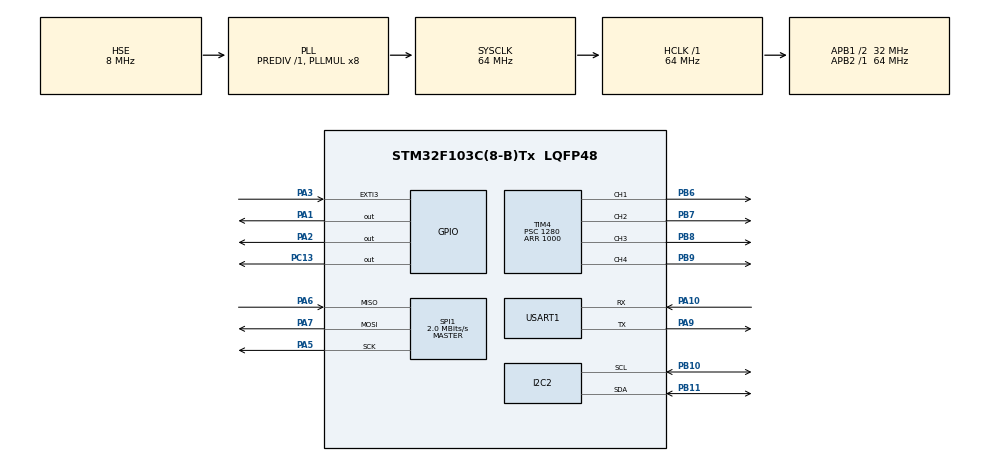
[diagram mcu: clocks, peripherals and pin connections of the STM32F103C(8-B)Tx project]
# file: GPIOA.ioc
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Mcu.Family=STM32F1
Mcu.Name=STM32F103C(8-B)Tx
Mcu.Package=LQFP48
NVIC.EXTI3_IRQn=true\:0\:0\:false\:false\:true\:true
NVIC.PriorityGroup=NVIC_PRIORITYGROUP_4
PA1.Signal=GPIO_Output
PA10.Mode=Asynchronous
PA10.Signal=USART1_RX
PA2.GPIO_ModeDefaultOutputPP=GPIO_MODE_OUTPUT_PP
PA2.Signal=GPIO_Output
PA3.GPIO_ModeDefaultEXTI=GPIO_MODE_IT_FALLING
PA3.Signal=GPXTI3
PA5.Mode=Full_Duplex_Master
PA5.Signal=SPI1_SCK
PA6.Mode=Full_Duplex_Master
PA6.Signal=SPI1_MISO
PA7.Mode=Full_Duplex_Master
PA7.Signal=SPI1_MOSI
PA9.Mode=Asynchronous
PA9.Signal=USART1_TX
PB10.Mode=I2C
PB10.Signal=I2C2_SCL
PB11.Mode=I2C
PB11.Signal=I2C2_SDA
PB6.Signal=S_TIM4_CH1
PB7.Signal=S_TIM4_CH2
PB8.Signal=S_TIM4_CH3
PB9.Signal=S_TIM4_CH4
PC13-TAMPER-RTC.Signal=GPIO_Output
PD0-OSC_IN.Mode=HSE-External-Oscillator
PD0-OSC_IN.Signal=RCC_OSC_IN
PD1-OSC_OUT.Mode=HSE-External-Oscillator
PD1-OSC_OUT.Signal=RCC_OSC_OUT
ProjectManager.HeapSize=0x200
ProjectManager.StackSize=0x400
ProjectManager.TargetToolchain=MDK-ARM V5
RCC.AHBFreq_Value=64000000
RCC.APB1CLKDivider=RCC_HCLK_DIV2
RCC.APB1Freq_Value=32000000
RCC.APB1TimFreq_Value=64000000
RCC.APB2Freq_Value=64000000
RCC.APB2TimFreq_Value=64000000
RCC.HCLKFreq_Value=64000000
RCC.PLLMUL=RCC_PLL_MUL8
RCC.PLLSourceVirtual=RCC_PLLSOURCE_HSE
RCC.SYSCLKFreq_VALUE=64000000
RCC.SYSCLKSource=RCC_SYSCLKSOURCE_PLLCLK
RCC.USBFreq_Value=42666666.666666664
RCC.USBPrescaler=RCC_USBCLKSOURCE_PLL_DIV1_5
SH.S_TIM4_CH1.0=TIM4_CH1,PWM Generation1 CH1
SH.S_TIM4_CH2.0=TIM4_CH2,PWM Generation2 CH2
SH.S_TIM4_CH3.0=TIM4_CH3,PWM Generation3 CH3
SH.S_TIM4_CH4.0=TIM4_CH4,PWM Generation4 CH4
SPI1.BaudRatePrescaler=SPI_BAUDRATEPRESCALER_32
SPI1.CalculateBaudRate=2.0 MBits/s
SPI1.Direction=SPI_DIRECTION_2LINES
SPI1.Mode=SPI_MODE_MASTER
SPI1.VirtualType=VM_MASTER
TIM4.Channel-PWM\ Generation1\ CH1=TIM_CHANNEL_1
TIM4.Channel-PWM\ Generation2\ CH2=TIM_CHANNEL_2
TIM4.Channel-PWM\ Generation3\ CH3=TIM_CHANNEL_3
TIM4.Channel-PWM\ Generation4\ CH4=TIM_CHANNEL_4
TIM4.Period=1000
TIM4.Prescaler=1280
USART1.VirtualMode=VM_ASYNC
VP_SYS_VS_ND.Mode=No_Debug
VP_TIM4_VS_ClockSourceINT.Mode=Internal
board=GPIOA

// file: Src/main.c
/**
  ******************************************************************************
  * @file           : main.c
  * @brief          : Main program body
  ******************************************************************************
  ** This notice applies to any and all portions of this file
  * that are not between comment pairs USER CODE BEGIN and
  * USER CODE END. Other portions of this file, whether
  * inserted by the user or by software development tools
  * are owned by their respective copyright owners.
  *
  * COPYRIGHT(c) 2020 STMicroelectronics
  *
  * Redistribution and use in source and binary forms, with or without modification,
  * are permitted provided that the following conditions are met:
  *   1. Redistributions of source code must retain the above copyright notice,
  *      this list of conditions and the following disclaimer.
  *   2. Redistributions in binary form must reproduce the above copyright notice,
  *      this list of conditions and the following disclaimer in the documentation
  *      and/or other materials provided with the distribution.
  *   3. Neither the name of STMicroelectronics nor the names of its contributors
  *      may be used to endorse or promote products derived from this software
  *      without specific prior written permission.
  *
  * THIS SOFTWARE IS PROVIDED BY THE COPYRIGHT HOLDERS AND CONTRIBUTORS "AS IS"
  * AND ANY EXPRESS OR IMPLIED WARRANTIES, INCLUDING, BUT NOT LIMITED TO, THE
  * IMPLIED WARRANTIES OF MERCHANTABILITY AND FITNESS FOR A PARTICULAR PURPOSE ARE
  * DISCLAIMED. IN NO EVENT SHALL THE COPYRIGHT HOLDER OR CONTRIBUTORS BE LIABLE
  * FOR ANY DIRECT, INDIRECT, INCIDENTAL, SPECIAL, EXEMPLARY, OR CONSEQUENTIAL
  * DAMAGES (INCLUDING, BUT NOT LIMITED TO, PROCUREMENT OF SUBSTITUTE GOODS OR
  * SERVICES; LOSS OF USE, DATA, OR PROFITS; OR BUSINESS INTERRUPTION) HOWEVER
  * CAUSED AND ON ANY THEORY OF LIABILITY, WHETHER IN CONTRACT, STRICT LIABILITY,
  * OR TORT (INCLUDING NEGLIGENCE OR OTHERWISE) ARISING IN ANY WAY OUT OF THE USE
  * OF THIS SOFTWARE, EVEN IF ADVISED OF THE POSSIBILITY OF SUCH DAMAGE.
  *
  ******************************************************************************
  */
#include "main.h"
#include "stm32f1xx_hal.h"
#include <stdlib.h>
#include "sd_hal_mpu6050.h"
#include <math.h>
/* USER CODE BEGIN Includes */
#include "MY_NRF24.h"
/* USER CODE END Includes */

I2C_HandleTypeDef hi2c2;

SPI_HandleTypeDef hspi1;

TIM_HandleTypeDef htim4;

UART_HandleTypeDef huart1;

/* USER CODE BEGIN PV */
/* Private variables ---------------------------------------------------------*/
extern uint8_t Rx_str[200];
extern uint8_t Rx_index;
int duty1=450,duty2=450,duty3=450,duty4=450,duty;
int min1=440,min2=440,min3=440,min4=440; // muc thap nhat cho dong co chay la 48 - 61 52 48    B6 B7 B8 B9
int max1=600,max2=600,max3=600,max4=600;
char Tx_str[200]="12;";
uint8_t Tx_index=3;
uint8_t TX_BUF[5] = {'a','b','c',';','d'};
extern uint8_t rx_flag;
char *Std;
int loop=0;
float resetnrf=0;
int stop=0;
// for mpu6050
SD_MPU6050 mpu1;
  float g_x=0,g_y=0,g_z=0,a_x=0,a_y=0,a_z=0;
float g_xx=0,g_yy=0, g_zz=0;
	float roll=0,pitch=0,yaw=0 ;
	float dt=0, old_time=0;//A=0.999,B=0.96,
float g_roll=0, g_pitch=0, g_yaw=0;
float tick=0;
// Variables for PID
float pid_p_roll=1.0; //0.7 0.65 0.001;
float pid_i_roll=1.7;
float pid_d_roll=1.1;

float pid_p_pitch=1.0;
float pid_i_pitch=1.7;
float pid_d_pitch=1.1;

float set_point_roll=0;
float set_point_pitch=0;

float aim_roll=0;
float aim_pitch=0;

float error_roll=0;
float error_pitch=0;

float last_error_roll=0;
float last_error_pitch=0;

float inter_roll=0;
float inter_pitch=0;

float output_roll=0;
float output_pitch=0;

float input_roll=0;
float input_pitch=0;

float last_roll=0;
float last_pitch=0;

int chanel_send=1;
int throut=450;
int start=0;
float er1=0,er2=0;
//float pp=10.0,rp=100.0,qp=0.1,kp=1.0,xp=0;
//float pr=10.0,rr=100.0,qr=0.1,kr=1.0,xr=0;
//47 60 47 47 tang 1 muc nua la chay
//b6 b7  b8   b9
//float data[10];
//int indexdata=0;
//d48 61 52 48; muc toi thieu de chay

//duty1= 60 duty2 = 73 duty3= 64 duty4 = 60
//duty1= 60 duty2 = 73 duty3= 64 duty4 = 60
//duty1= 61 duty2 = 74 duty3= 65 duty4 = 61
//duty1= 61 duty2 = 74 duty3= 65 duty4 = 61
//duty1= 61 duty2 = 74 duty3= 65 duty4 = 61
//duty1= 61 duty2 = 74 duty3= 65 duty4 = 61
//duty1= 62 duty2 = 75 duty3= 66 duty4 = 62
//duty1= 61 duty2 = 74 duty3= 65 duty4 = 61
//duty1= 60 duty2 = 73 duty3= 64 duty4 = 60

/* USER CODE END PV */

void SystemClock_Config(void);
static void MX_GPIO_Init(void);
static void MX_SPI1_Init(void);
static void MX_USART1_UART_Init(void);
static void MX_I2C2_Init(void);
static void MX_TIM4_Init(void);

void HAL_TIM_MspPostInit(TIM_HandleTypeDef *htim);

/* USER CODE BEGIN PFP */
/* Private function prototypes -----------------------------------------------*/

/* USER CODE END PFP */

/* USER CODE BEGIN 0 */

void NRF_Sendstring()
	{
		HAL_Delay(1);
		Tx_index=strlen(Tx_str);
			//	LED_TGL;
		for(int i=0;i<Tx_index;i+=5)
		{
			for(int j=0;j<5;j++)
			{
				if((i+j)<Tx_index)
				TX_BUF[j]=Tx_str[i+j];
				else
					TX_BUF[j]=' ';
			}
			NRF24L01_Send(TX_BUF);
		HAL_Delay(10);
		}
	}

void SetPmw()
{
	if(duty1<min1)
		duty1=min1;
	if(duty2<min2)
		duty2=min2;
	if(duty3<min3)
		duty3=min3;
	if(duty4<min4)
		duty4=min4;

	if(duty1>max1)
		duty1=max1;
	if(duty2>max2)
		duty2=max2;
	if(duty3>max3)
		duty3=max3;
	if(duty4>max4)
		duty4=max4;
}
void calculate_pid()
{

	//Pitch
	error_pitch=(input_pitch)-set_point_pitch;//round()
	if(fabs(error_pitch)>0.9)
		inter_pitch+=error_pitch*dt;
	er2=error_pitch*dt;
	if(inter_pitch>900)
		inter_pitch=900;
	if(inter_pitch<-900)
		inter_pitch=-900;
	if(dt!=0.0)
	{
		output_pitch=pid_p_pitch*error_pitch+pid_i_pitch*inter_pitch+pid_d_pitch*(error_pitch-last_error_pitch)/dt;//???????
		last_error_pitch=error_pitch;
	}

	// Roll
	error_roll=(input_roll)-set_point_roll;
	if(fabs(error_roll)>0.9)
		inter_roll+=error_roll*dt;
	er1=error_roll*dt;
	if(inter_roll>900)
		inter_roll=900;
	if(inter_roll<-900)
		inter_roll=-900;
	if(dt!=0.0)
	{
		output_roll=pid_p_roll*error_roll+pid_i_roll*inter_roll+pid_d_roll*(error_roll-last_error_roll)/dt;
		last_error_roll=error_roll;
	}

}
void SysTick_Handler(void)
{
  /* USER CODE BEGIN SysTick_IRQn 0 */
tick++;
	if(tick>=5)
	{
		if(stop==-1)
			{
				if(throut>450)
				{
					throut-=1;
				}
			}
			if(aim_pitch-set_point_pitch>0.2)
				set_point_pitch+=0.1;
			if(aim_pitch-set_point_pitch<-0.2)
				set_point_pitch-=0.1;
			if(aim_roll-set_point_roll>0.2)
				set_point_roll+=0.1;
			if(aim_roll-set_point_roll<-0.2)
				set_point_roll-=0.1;

			tick=0;
		}
  /* USER CODE END SysTick_IRQn 0 */
  HAL_IncTick();
  HAL_SYSTICK_IRQHandler();
  /* USER CODE BEGIN SysTick_IRQn 1 */

  /* USER CODE END SysTick_IRQn 1 */
}

/* USER CODE END 0 */

int main(void)
{
  /* USER CODE BEGIN 1 */
	SD_MPU6050_Result result ;
  /* USER CODE END 1 */

  /* MCU Configuration----------------------------------------------------------*/

  /* Reset of all peripherals, Initializes the Flash interface and the Systick. */
  HAL_Init();

  /* Configure the system clock */
  SystemClock_Config();

  /* Initialize all configured peripherals */
  MX_GPIO_Init();
  MX_SPI1_Init();
  MX_USART1_UART_Init();
  MX_I2C2_Init();
  MX_TIM4_Init();
  /* USER CODE BEGIN 2 */

	NRF24_ini();
	HAL_TIM_PWM_Start(&htim4,TIM_CHANNEL_1);
	HAL_TIM_PWM_Start(&htim4,TIM_CHANNEL_2);
	HAL_TIM_PWM_Start(&htim4,TIM_CHANNEL_3);
	HAL_TIM_PWM_Start(&htim4,TIM_CHANNEL_4);
	__HAL_TIM_SET_COMPARE(&htim4,TIM_CHANNEL_1,duty1);
	__HAL_TIM_SET_COMPARE(&htim4,TIM_CHANNEL_2,duty2);
	__HAL_TIM_SET_COMPARE(&htim4,TIM_CHANNEL_3,duty3);
	__HAL_TIM_SET_COMPARE(&htim4,TIM_CHANNEL_4,duty4);
	LED_OFF;

	LED_OFF;
	sprintf(Tx_str,"Set NRF ok;");
	NRF_Sendstring();
	result = SD_MPU6050_Init(&hi2c2,&mpu1,SD_MPU6050_Device_0,SD_MPU6050_Accelerometer_8G,SD_MPU6050_Gyroscope_500s );
	  HAL_Delay(500);

	  if(result == SD_MPU6050_Result_Ok)
	  {
			sprintf(Tx_str,"MPU WORK FINE;");
			NRF_Sendstring();
		}
	  else
	  {
			sprintf(Tx_str,"MPU DON'T WORK;");
			NRF_Sendstring();
	  }
		HAL_Delay(3000);
		sprintf(Tx_str,"START CALIBRATION;");
			NRF_Sendstring();
		for(int i=0;i<50;i++)
		{
			SD_MPU6050_ReadAll(&hi2c2,&mpu1);
			g_xx+= ((float)mpu1.Gyroscope_X)/131.0;
			g_yy+= ((float)mpu1.Gyroscope_Y)/131.0;
			g_zz+= ((float)mpu1.Gyroscope_Y)/131.0;
			HAL_Delay(100);
		}
		g_xx/=50.0;
		g_yy/=50.0;
		g_zz/=50.0;
		sprintf(Tx_str,"END CALIBRATION;");
		NRF_Sendstring();
		tick=0;
		old_time=HAL_GetTick();
  /* USER CODE END 2 */
  /* Infinite loop */
  /* USER CODE BEGIN WHILE */
  while (1) // duty 2 la kv 1000
  {

		loop++;
		resetnrf++;
		if(resetnrf>=900)
		{
			NRF24_ini();
			Rx_index=0;
			resetnrf=0;
			sprintf(Tx_str,"Reset NRF;");
			NRF_Sendstring();
			HAL_GPIO_TogglePin(GPIOC,GPIO_PIN_13);
			resetnrf=0;
		}
		if(loop>=200)
		{
			switch(chanel_send)
				{
				case 3:
			sprintf(Tx_str,"d1: %f: d2 :%f: d3: %f: d4 : %f3;",set_point_pitch, set_point_roll, aim_pitch, aim_roll);
				//sprintf(Tx_str,": %f: %f: %f: %f: %f: %f: %f: %f: %f: %f;",data[0],data[1],data[2],data[3],data[4],data[5],data[6],data[7],data[8],data[9]);
					break;
				case 2:
			sprintf(Tx_str,"P: %f: R: %f :Y: %f;",g_x*dt, g_y*dt, g_z*dt);
					break;
				case 4:
			//sprintf(Tx_str,"in: %.2f: %.2f: %f: %f;",input_pitch, input_roll,error_pitch,mpu1.Gyro_Mult); //*mpu1.Gyro_Mult
				sprintf(Tx_str,"in: %.4f: %.4f: %.4f;",g_x, g_y, g_z);
				break;
				case 1:
			//sprintf(Tx_str,"out: %.2f: %.2f: %f: %f;",output_pitch, output_roll,inter_pitch,inter_roll);
				sprintf(Tx_str,"g: %.3f: %.3f: %.3f;",g_pitch, g_roll, g_yaw);
				break;
				}
			NRF_Sendstring();
				loop=0;
		}

		if(rx_flag==1) //
		{
			HAL_Delay(1);
			switch(Rx_str[0])
			{
				case 's':
					Rx_str[0]=' ';
				Std=(char*)Rx_str;
				aim_pitch = strtod(Std,&Std);
				aim_roll = strtod(Std,&Std);
				sprintf(Tx_str,"Set = %f : %f ;",aim_pitch, aim_roll);
				NRF_Sendstring();
					break;
				case 'p':
					Rx_str[0]=' ';
				Std=(char*)Rx_str;
				pid_p_pitch = strtod(Std,&Std);
				pid_i_pitch = strtod(Std,&Std);
				pid_d_pitch = strtod(Std,&Std);
				sprintf(Tx_str,"PID= %f PID = %f PID= %f;",pid_p_pitch, pid_i_pitch, pid_d_pitch);
				NRF_Sendstring();
					break;
				case 'r':
					Rx_str[0]=' ';
				Std=(char*)Rx_str;
				pid_p_roll = strtod(Std,&Std);
				pid_i_roll = strtod(Std,&Std);
				pid_d_roll = strtod(Std,&Std);
				sprintf(Tx_str,"PID= %f PID = %f PID= %f;",pid_p_roll, pid_i_roll, pid_d_roll);
				NRF_Sendstring();
					break;
				case 'e':
					if(start==0)
					{
						sprintf(Tx_str,"Enable Calibration;");
						NRF_Sendstring();
						start=1;
						}
					else
						{
							sprintf(Tx_str,"Disable Calibration;");
						NRF_Sendstring();
						start=0;
							}
					break;
				case 'n':
					resetnrf=0;
					break;
				case 'v':
					set_point_pitch = (input_pitch);
				set_point_roll =(input_roll);
				aim_pitch=set_point_pitch;
				aim_roll=set_point_roll;
				inter_roll=0;
				inter_pitch=0;
				last_error_pitch=0;
				last_error_roll=0;
				g_pitch=0;
				g_roll=0;
				g_yaw=0;
				sprintf(Tx_str,"set_pitch= %f set_roll = %f ;",set_point_pitch, set_point_roll);
				NRF_Sendstring();
					break;
				case 'c':
					if(chanel_send==4)
					chanel_send=1;
				else
					chanel_send++;
					break;
				case 't':
					Rx_str[0]=' ';
				Std=(char*)Rx_str;
				throut = (int)strtod(Std,&Std);
				sprintf(Tx_str,"Apply new throut= %d;",throut);
				NRF_Sendstring();
					break;
				case 'h':
					throut++;
				sprintf(Tx_str,"Throut Up %d;",throut);
				NRF_Sendstring();
					break;
				case 'l':
					throut--;
				sprintf(Tx_str,"Throut Down %d;",throut);
				NRF_Sendstring();
					break;
				case 'u':
					throut+=5;
				sprintf(Tx_str,"Throut Up %d;",throut);
				NRF_Sendstring();
					break;
				case 'd':
					throut-=5;
				sprintf(Tx_str,"Throut Down %d;",throut);
				NRF_Sendstring();
					break;
				case 'z':
					if(stop!=-1)
				{
					stop=-1;
					sprintf(Tx_str,"STOP;");
				}
				else
				{
					stop=0;
					sprintf(Tx_str,"START;");
				}
				NRF_Sendstring();
					break;
			}

			for(int i=0;i<Rx_index;i++)
					Rx_str[i]=0;
				Rx_index=0;
			rx_flag=0;
		}

		SD_MPU6050_ReadAll(&hi2c2,&mpu1);
			a_x = ((float)mpu1.Accelerometer_X)*mpu1.Acce_Mult;
			a_y = ((float)mpu1.Accelerometer_Y)*mpu1.Acce_Mult;
			a_z = ((float)mpu1.Accelerometer_Z)*mpu1.Acce_Mult;
			g_x = ((float)mpu1.Gyroscope_X)/131.0;
			g_y = ((float)mpu1.Gyroscope_Y)/131.0;
			g_z = ((float)mpu1.Gyroscope_Z)/131.0;
//			last_roll=roll;
//			last_pitch=pitch;
//			roll=atan2(a_x,sqrt(a_y*a_y+a_z*a_z))*180/3.1412;
//			pitch=atan2(a_y,sqrt(a_x*a_x+a_z*a_z))*180/3.1412;

			dt=(HAL_GetTick()-old_time)/1000.0;
			old_time=HAL_GetTick();

			g_x=(g_x-g_xx);
			g_y=(g_y-g_yy);
			g_z=(g_z-g_zz);
			if(fabs(g_x)>1.0)
				g_roll+=g_x*dt;
			if(fabs(g_y)>1.0)
				g_pitch+=g_y*dt;
			if(fabs(g_z)>1.0)
			{
				g_yaw+=g_z*dt;
				g_pitch-=g_roll*(g_z*dt*3.14159/180.0);
				g_roll+=g_pitch*(g_z*dt*3.14159/180.0);
			}

//
//		pr = pr + qr;
//		kr = pr / (pr + rr);
//		input_roll = input_roll + kr * (roll - input_roll);
//		pr = (1 - kr) * pr;
//
//
//		pp = pp + qp;
//		kp = pp / (pp + rp);
//		input_pitch = input_pitch + kp * (pitch - input_pitch);
//		pp = (1 - kp) * pp;
//
//		data[indexdata]=input_pitch;
//		if(indexdata>8)
//			indexdata=0;
//		else
//			indexdata++;
//		input_roll=0.8*input_roll+0.2*roll;
//	input_pitch=0.8*input_pitch+0.2*pitch;
	input_roll=g_roll;
	input_pitch=g_pitch;
		if(start==1)
			{

		calculate_pid(); //calculate pid controler
		duty1=throut+(int)output_pitch;
		duty3=throut-(int)output_pitch;
		duty2=throut+(int)output_roll;
		duty4=throut-(int)output_roll;
		SetPmw();
				__HAL_TIM_SET_COMPARE(&htim4,TIM_CHANNEL_1,duty1);
				__HAL_TIM_SET_COMPARE(&htim4,TIM_CHANNEL_2,duty2);
				__HAL_TIM_SET_COMPARE(&htim4,TIM_CHANNEL_3,duty3);
				__HAL_TIM_SET_COMPARE(&htim4,TIM_CHANNEL_4,duty4);
				}

	//	LED_TGL;
  /* USER CODE END WHILE */

  }

}

void SystemClock_Config(void)
{

  RCC_OscInitTypeDef RCC_OscInitStruct;
  RCC_ClkInitTypeDef RCC_ClkInitStruct;

    /**Initializes the CPU, AHB and APB busses clocks
    */
  RCC_OscInitStruct.OscillatorType = RCC_OSCILLATORTYPE_HSE;
  RCC_OscInitStruct.HSEState = RCC_HSE_ON;
  RCC_OscInitStruct.HSEPredivValue = RCC_HSE_PREDIV_DIV1;
  RCC_OscInitStruct.HSIState = RCC_HSI_ON;
  RCC_OscInitStruct.PLL.PLLState = RCC_PLL_ON;
  RCC_OscInitStruct.PLL.PLLSource = RCC_PLLSOURCE_HSE;
  RCC_OscInitStruct.PLL.PLLMUL = RCC_PLL_MUL8;
  if (HAL_RCC_OscConfig(&RCC_OscInitStruct) != HAL_OK)
  {
    _Error_Handler(__FILE__, __LINE__);
  }

    /**Initializes the CPU, AHB and APB busses clocks
    */
  RCC_ClkInitStruct.ClockType = RCC_CLOCKTYPE_HCLK|RCC_CLOCKTYPE_SYSCLK
                              |RCC_CLOCKTYPE_PCLK1|RCC_CLOCKTYPE_PCLK2;
  RCC_ClkInitStruct.SYSCLKSource = RCC_SYSCLKSOURCE_PLLCLK;
  RCC_ClkInitStruct.AHBCLKDivider = RCC_SYSCLK_DIV1;
  RCC_ClkInitStruct.APB1CLKDivider = RCC_HCLK_DIV2;
  RCC_ClkInitStruct.APB2CLKDivider = RCC_HCLK_DIV1;

  if (HAL_RCC_ClockConfig(&RCC_ClkInitStruct, FLASH_LATENCY_2) != HAL_OK)
  {
    _Error_Handler(__FILE__, __LINE__);
  }

    /**Configure the Systick interrupt time
    */
  HAL_SYSTICK_Config(HAL_RCC_GetHCLKFreq()/1000);

    /**Configure the Systick
    */
  HAL_SYSTICK_CLKSourceConfig(SYSTICK_CLKSOURCE_HCLK);

  /* SysTick_IRQn interrupt configuration */
  HAL_NVIC_SetPriority(SysTick_IRQn, 0, 0);
}

/* I2C2 init function */
static void MX_I2C2_Init(void)
{

  hi2c2.Instance = I2C2;
  hi2c2.Init.ClockSpeed = 100000;
  hi2c2.Init.DutyCycle = I2C_DUTYCYCLE_2;
  hi2c2.Init.OwnAddress1 = 0;
  hi2c2.Init.AddressingMode = I2C_ADDRESSINGMODE_7BIT;
  hi2c2.Init.DualAddressMode = I2C_DUALADDRESS_DISABLE;
  hi2c2.Init.OwnAddress2 = 0;
  hi2c2.Init.GeneralCallMode = I2C_GENERALCALL_DISABLE;
  hi2c2.Init.NoStretchMode = I2C_NOSTRETCH_DISABLE;
  if (HAL_I2C_Init(&hi2c2) != HAL_OK)
  {
    _Error_Handler(__FILE__, __LINE__);
  }

}

/* SPI1 init function */
static void MX_SPI1_Init(void)
{

  /* SPI1 parameter configuration*/
  hspi1.Instance = SPI1;
  hspi1.Init.Mode = SPI_MODE_MASTER;
  hspi1.Init.Direction = SPI_DIRECTION_2LINES;
  hspi1.Init.DataSize = SPI_DATASIZE_8BIT;
  hspi1.Init.CLKPolarity = SPI_POLARITY_LOW;
  hspi1.Init.CLKPhase = SPI_PHASE_1EDGE;
  hspi1.Init.NSS = SPI_NSS_SOFT;
  hspi1.Init.BaudRatePrescaler = SPI_BAUDRATEPRESCALER_32;
  hspi1.Init.FirstBit = SPI_FIRSTBIT_MSB;
  hspi1.Init.TIMode = SPI_TIMODE_DISABLE;
  hspi1.Init.CRCCalculation = SPI_CRCCALCULATION_DISABLE;
  hspi1.Init.CRCPolynomial = 10;
  if (HAL_SPI_Init(&hspi1) != HAL_OK)
  {
    _Error_Handler(__FILE__, __LINE__);
  }

}

/* TIM4 init function */
static void MX_TIM4_Init(void)
{

  TIM_ClockConfigTypeDef sClockSourceConfig;
  TIM_MasterConfigTypeDef sMasterConfig;
  TIM_OC_InitTypeDef sConfigOC;

  htim4.Instance = TIM4;
  htim4.Init.Prescaler = 128;
  htim4.Init.CounterMode = TIM_COUNTERMODE_UP;
  htim4.Init.Period = 10000;
  htim4.Init.ClockDivision = TIM_CLOCKDIVISION_DIV1;
  htim4.Init.AutoReloadPreload = TIM_AUTORELOAD_PRELOAD_DISABLE;
  if (HAL_TIM_Base_Init(&htim4) != HAL_OK)
  {
    _Error_Handler(__FILE__, __LINE__);
  }

  sClockSourceConfig.ClockSource = TIM_CLOCKSOURCE_INTERNAL;
  if (HAL_TIM_ConfigClockSource(&htim4, &sClockSourceConfig) != HAL_OK)
  {
    _Error_Handler(__FILE__, __LINE__);
  }

  if (HAL_TIM_PWM_Init(&htim4) != HAL_OK)
  {
    _Error_Handler(__FILE__, __LINE__);
  }

  sMasterConfig.MasterOutputTrigger = TIM_TRGO_RESET;
  sMasterConfig.MasterSlaveMode = TIM_MASTERSLAVEMODE_DISABLE;
  if (HAL_TIMEx_MasterConfigSynchronization(&htim4, &sMasterConfig) != HAL_OK)
  {
    _Error_Handler(__FILE__, __LINE__);
  }

  sConfigOC.OCMode = TIM_OCMODE_PWM1;
  sConfigOC.Pulse = 0;
  sConfigOC.OCPolarity = TIM_OCPOLARITY_HIGH;
  sConfigOC.OCFastMode = TIM_OCFAST_DISABLE;
  if (HAL_TIM_PWM_ConfigChannel(&htim4, &sConfigOC, TIM_CHANNEL_1) != HAL_OK)
  {
    _Error_Handler(__FILE__, __LINE__);
  }

  if (HAL_TIM_PWM_ConfigChannel(&htim4, &sConfigOC, TIM_CHANNEL_2) != HAL_OK)
  {
    _Error_Handler(__FILE__, __LINE__);
  }

  if (HAL_TIM_PWM_ConfigChannel(&htim4, &sConfigOC, TIM_CHANNEL_3) != HAL_OK)
  {
    _Error_Handler(__FILE__, __LINE__);
  }

  if (HAL_TIM_PWM_ConfigChannel(&htim4, &sConfigOC, TIM_CHANNEL_4) != HAL_OK)
  {
    _Error_Handler(__FILE__, __LINE__);
  }

  HAL_TIM_MspPostInit(&htim4);

}

/* USART1 init function */
static void MX_USART1_UART_Init(void)
{

  huart1.Instance = USART1;
  huart1.Init.BaudRate = 115200;
  huart1.Init.WordLength = UART_WORDLENGTH_8B;
  huart1.Init.StopBits = UART_STOPBITS_1;
  huart1.Init.Parity = UART_PARITY_NONE;
  huart1.Init.Mode = UART_MODE_TX_RX;
  huart1.Init.HwFlowCtl = UART_HWCONTROL_NONE;
  huart1.Init.OverSampling = UART_OVERSAMPLING_16;
  if (HAL_UART_Init(&huart1) != HAL_OK)
  {
    _Error_Handler(__FILE__, __LINE__);
  }

}

/** Configure pins as
        * Analog
        * Input
        * Output
        * EVENT_OUT
        * EXTI
*/
static void MX_GPIO_Init(void)
{

  GPIO_InitTypeDef GPIO_InitStruct;

  /* GPIO Ports Clock Enable */
  __HAL_RCC_GPIOC_CLK_ENABLE();
  __HAL_RCC_GPIOD_CLK_ENABLE();
  __HAL_RCC_GPIOA_CLK_ENABLE();
  __HAL_RCC_GPIOB_CLK_ENABLE();

  /*Configure GPIO pin Output Level */
  HAL_GPIO_WritePin(GPIOC, GPIO_PIN_13, GPIO_PIN_RESET);

  /*Configure GPIO pin Output Level */
  HAL_GPIO_WritePin(GPIOA, GPIO_PIN_1|GPIO_PIN_2, GPIO_PIN_RESET);

  /*Configure GPIO pin : PC13 */
  GPIO_InitStruct.Pin = GPIO_PIN_13;
  GPIO_InitStruct.Mode = GPIO_MODE_OUTPUT_PP;
  GPIO_InitStruct.Speed = GPIO_SPEED_FREQ_LOW;
  HAL_GPIO_Init(GPIOC, &GPIO_InitStruct);

  /*Configure GPIO pins : PA1 PA2 */
  GPIO_InitStruct.Pin = GPIO_PIN_1|GPIO_PIN_2;
  GPIO_InitStruct.Mode = GPIO_MODE_OUTPUT_PP;
  GPIO_InitStruct.Speed = GPIO_SPEED_FREQ_LOW;
  HAL_GPIO_Init(GPIOA, &GPIO_InitStruct);

  /*Configure GPIO pin : PA3 */
  GPIO_InitStruct.Pin = GPIO_PIN_3;
  GPIO_InitStruct.Mode = GPIO_MODE_IT_FALLING;
  GPIO_InitStruct.Pull = GPIO_NOPULL;
  HAL_GPIO_Init(GPIOA, &GPIO_InitStruct);

  /* EXTI interrupt init*/
  HAL_NVIC_SetPriority(EXTI3_IRQn, 0, 0);
  HAL_NVIC_EnableIRQ(EXTI3_IRQn);

}

/* USER CODE BEGIN 4 */
void HAL_GPIO_EXTI_Callback(uint16_t GPIO_Pin)
{
  if(GPIO_Pin== GPIO_PIN_3)
  {
    IRQ_Callback();
  }
  else
  {
    __NOP();
  }
}
/* USER CODE END 4 */

void _Error_Handler(char *file, int line)
{
  while(1)
  {
  }
}

/************************ (C) COPYRIGHT STMicroelectronics *****END OF FILE****/
